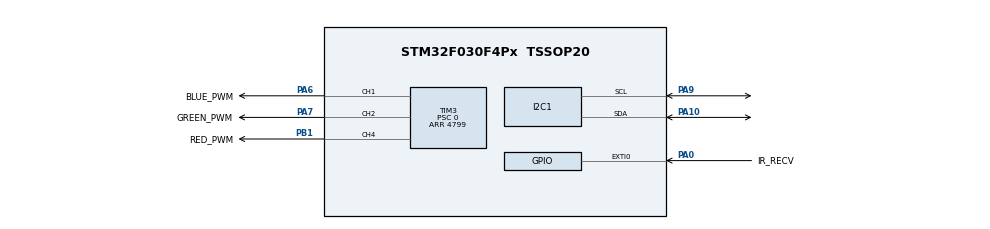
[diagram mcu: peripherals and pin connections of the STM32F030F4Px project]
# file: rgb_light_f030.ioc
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Mcu.Family=STM32F0
Mcu.Name=STM32F030F4Px
Mcu.Package=TSSOP20
NVIC.EXTI0_1_IRQn=true\:0\:0\:false\:false\:true\:true\:true\:true
NVIC.TIM16_IRQn=true\:0\:0\:false\:false\:true\:true\:true\:true
NVIC.TIM17_IRQn=true\:0\:0\:false\:false\:true\:true\:true\:true
PA0.GPIO_Label=IR_RECV
PA0.GPIO_ModeDefaultEXTI=GPIO_MODE_IT_RISING_FALLING
PA0.Signal=GPXTI0
PA10.Mode=I2C
PA10.Signal=I2C1_SDA
PA13.Mode=Serial_Wire
PA13.Signal=SYS_SWDIO
PA14.Mode=Serial_Wire
PA14.Signal=SYS_SWCLK
PA6.GPIO_Label=BLUE_PWM
PA6.Signal=S_TIM3_CH1
PA7.GPIO_Label=GREEN_PWM
PA7.Signal=S_TIM3_CH2
PA9.Mode=I2C
PA9.Signal=I2C1_SCL
PB1.GPIO_Label=RED_PWM
PB1.Signal=S_TIM3_CH4
PF0-OSC_IN.Mode=HSE-External-Oscillator
PF0-OSC_IN.Signal=RCC_OSC_IN
PF1-OSC_OUT.Mode=HSE-External-Oscillator
PF1-OSC_OUT.Signal=RCC_OSC_OUT
ProjectManager.HeapSize=0x200
ProjectManager.StackSize=0x400
ProjectManager.TargetToolchain=STM32CubeIDE
RCC.AHBFreq_Value=48000000
RCC.APB1Freq_Value=48000000
RCC.APB1TimFreq_Value=48000000
RCC.HCLKFreq_Value=48000000
RCC.PLLMUL=RCC_PLL_MUL6
RCC.PLLSourceVirtual=RCC_PLLSOURCE_HSE
RCC.SYSCLKFreq_VALUE=48000000
RCC.SYSCLKSource=RCC_SYSCLKSOURCE_PLLCLK
SH.S_TIM3_CH1.0=TIM3_CH1,PWM Generation1 CH1
SH.S_TIM3_CH2.0=TIM3_CH2,PWM Generation2 CH2
SH.S_TIM3_CH4.0=TIM3_CH4,PWM Generation4 CH4
TIM14.Period=1549
TIM14.Prescaler=3095
TIM16.Period=47999
TIM16.Prescaler=9
TIM17.Period=499
TIM17.Prescaler=47999
TIM3.AutoReloadPreload=TIM_AUTORELOAD_PRELOAD_DISABLE
TIM3.Channel-PWM\ Generation1\ CH1=TIM_CHANNEL_1
TIM3.Channel-PWM\ Generation2\ CH2=TIM_CHANNEL_2
TIM3.Channel-PWM\ Generation4\ CH4=TIM_CHANNEL_4
TIM3.Period=4799
TIM3.Prescaler=0
VP_TIM14_VS_ClockSourceINT.Mode=Enable_Timer
VP_TIM16_VS_ClockSourceINT.Mode=Enable_Timer
VP_TIM17_VS_ClockSourceINT.Mode=Enable_Timer
board=custom

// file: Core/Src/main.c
/* USER CODE BEGIN Header */
/**
  ******************************************************************************
  * @file           : main.c
  * @brief          : Main program body
  ******************************************************************************
  * @attention
  *
  * Copyright (c) 2022 STMicroelectronics.
  * All rights reserved.
  *
  * This software is licensed under terms that can be found in the LICENSE file
  * in the root directory of this software component.
  * If no LICENSE file comes with this software, it is provided AS-IS.
  *
  ******************************************************************************
  */
/* USER CODE END Header */
#include "main.h"

void SystemClock_Config(void);
static void MX_GPIO_Init(void);
static void MX_TIM14_Init(void);
static void MX_TIM3_Init(void);
static void MX_TIM16_Init(void);
static void MX_I2C1_Init(void);
static void MX_TIM17_Init(void);

/* USER CODE BEGIN 0 */

#ifdef DBG_ENABLED
void dbg_print(const char* data)
{
	while (*data)
	{
		LL_USART_TransmitData8(DBG_USART, *data++);
		while (!LL_USART_IsActiveFlag_TXE(DBG_USART)) ;
	}
}
#endif

unsigned int save_cfg_flag = 0;

/* USER CODE END 0 */

int main(void)
{

  /* MCU Configuration--------------------------------------------------------*/

  /* Reset of all peripherals, Initializes the Flash interface and the Systick. */
  LL_APB1_GRP2_EnableClock(LL_APB1_GRP2_PERIPH_SYSCFG);
  LL_APB1_GRP1_EnableClock(LL_APB1_GRP1_PERIPH_PWR);

  /* SysTick_IRQn interrupt configuration */
  NVIC_SetPriority(SysTick_IRQn, 3);

  /* Configure the system clock */
  SystemClock_Config();

  /* Initialize all configured peripherals */
  MX_GPIO_Init();
  MX_TIM14_Init();
  MX_TIM3_Init();
  MX_TIM16_Init();
  MX_I2C1_Init();
  MX_TIM17_Init();
  /* USER CODE BEGIN 2 */

  	LL_I2C_Enable(I2C1);

  	//generic timekeeping 500ms IT
	LL_TIM_EnableCounter(GENERIC_TIMER);
	LL_TIM_EnableIT_UPDATE(GENERIC_TIMER);

	remote_init();
	rgb_ctl_init();

	delay_ms(50);

	eeprom_load();
	if (eeprom.cfg.version != EEPROM_VERSION) {
		eeprom_set_defaults();
		eeprom_save();
	}

  /* USER CODE END 2 */

  /* Infinite loop */
  while (1)
  {

    /* USER CODE BEGIN 3 */

	  if (remote.on_key_press_flag)
	  {
		  remote_on_key_press();
		  remote.on_key_press_flag = 0;
	  }

	  if (remote.on_long_press_flag)
	  {
		  remote.on_long_press_flag = 0;
		  remote_on_long_press(remote.ir_raw_data);
	  }

	  if (save_cfg_flag)
	  {
		  save_cfg_flag = 0;
		  eeprom_save();
	  }
  }
  /* USER CODE END 3 */
}

void SystemClock_Config(void)
{
  LL_FLASH_SetLatency(LL_FLASH_LATENCY_1);
  while(LL_FLASH_GetLatency() != LL_FLASH_LATENCY_1)
  {
  }
  LL_RCC_HSE_Enable();

   /* Wait till HSE is ready */
  while(LL_RCC_HSE_IsReady() != 1)
  {

  }
  LL_RCC_HSI_Enable();

   /* Wait till HSI is ready */
  while(LL_RCC_HSI_IsReady() != 1)
  {

  }
  LL_RCC_HSI_SetCalibTrimming(16);
  LL_RCC_PLL_ConfigDomain_SYS(LL_RCC_PLLSOURCE_HSE_DIV_1, LL_RCC_PLL_MUL_6);
  LL_RCC_PLL_Enable();

   /* Wait till PLL is ready */
  while(LL_RCC_PLL_IsReady() != 1)
  {

  }
  LL_RCC_SetAHBPrescaler(LL_RCC_SYSCLK_DIV_1);
  LL_RCC_SetAPB1Prescaler(LL_RCC_APB1_DIV_1);
  LL_RCC_SetSysClkSource(LL_RCC_SYS_CLKSOURCE_PLL);

   /* Wait till System clock is ready */
  while(LL_RCC_GetSysClkSource() != LL_RCC_SYS_CLKSOURCE_STATUS_PLL)
  {

  }
  LL_Init1msTick(48000000);
  LL_SetSystemCoreClock(48000000);
  LL_RCC_SetI2CClockSource(LL_RCC_I2C1_CLKSOURCE_HSI);
}

static void MX_I2C1_Init(void)
{

  LL_I2C_InitTypeDef I2C_InitStruct = {0};

  LL_GPIO_InitTypeDef GPIO_InitStruct = {0};

  LL_AHB1_GRP1_EnableClock(LL_AHB1_GRP1_PERIPH_GPIOA);
  /**I2C1 GPIO Configuration
  PA9   ------> I2C1_SCL
  PA10   ------> I2C1_SDA
  */
  GPIO_InitStruct.Pin = LL_GPIO_PIN_9;
  GPIO_InitStruct.Mode = LL_GPIO_MODE_ALTERNATE;
  GPIO_InitStruct.Speed = LL_GPIO_SPEED_FREQ_HIGH;
  GPIO_InitStruct.OutputType = LL_GPIO_OUTPUT_OPENDRAIN;
  GPIO_InitStruct.Pull = LL_GPIO_PULL_NO;
  GPIO_InitStruct.Alternate = LL_GPIO_AF_4;
  LL_GPIO_Init(GPIOA, &GPIO_InitStruct);

  GPIO_InitStruct.Pin = LL_GPIO_PIN_10;
  GPIO_InitStruct.Mode = LL_GPIO_MODE_ALTERNATE;
  GPIO_InitStruct.Speed = LL_GPIO_SPEED_FREQ_HIGH;
  GPIO_InitStruct.OutputType = LL_GPIO_OUTPUT_OPENDRAIN;
  GPIO_InitStruct.Pull = LL_GPIO_PULL_NO;
  GPIO_InitStruct.Alternate = LL_GPIO_AF_4;
  LL_GPIO_Init(GPIOA, &GPIO_InitStruct);

  /* Peripheral clock enable */
  LL_APB1_GRP1_EnableClock(LL_APB1_GRP1_PERIPH_I2C1);

  /** I2C Initialization
  */
  LL_I2C_DisableOwnAddress2(I2C1);
  LL_I2C_DisableGeneralCall(I2C1);
  LL_I2C_EnableClockStretching(I2C1);
  I2C_InitStruct.PeripheralMode = LL_I2C_MODE_I2C;
  I2C_InitStruct.Timing = 0x2000090E;
  I2C_InitStruct.AnalogFilter = LL_I2C_ANALOGFILTER_ENABLE;
  I2C_InitStruct.DigitalFilter = 0;
  I2C_InitStruct.OwnAddress1 = 0;
  I2C_InitStruct.TypeAcknowledge = LL_I2C_ACK;
  I2C_InitStruct.OwnAddrSize = LL_I2C_OWNADDRESS1_7BIT;
  LL_I2C_Init(I2C1, &I2C_InitStruct);
  LL_I2C_EnableAutoEndMode(I2C1);
  LL_I2C_SetOwnAddress2(I2C1, 0, LL_I2C_OWNADDRESS2_NOMASK);

}

static void MX_TIM3_Init(void)
{

  LL_TIM_InitTypeDef TIM_InitStruct = {0};
  LL_TIM_OC_InitTypeDef TIM_OC_InitStruct = {0};

  LL_GPIO_InitTypeDef GPIO_InitStruct = {0};

  /* Peripheral clock enable */
  LL_APB1_GRP1_EnableClock(LL_APB1_GRP1_PERIPH_TIM3);

  TIM_InitStruct.Prescaler = 0;
  TIM_InitStruct.CounterMode = LL_TIM_COUNTERMODE_UP;
  TIM_InitStruct.Autoreload = 4799;
  TIM_InitStruct.ClockDivision = LL_TIM_CLOCKDIVISION_DIV1;
  LL_TIM_Init(TIM3, &TIM_InitStruct);
  LL_TIM_DisableARRPreload(TIM3);
  LL_TIM_OC_EnablePreload(TIM3, LL_TIM_CHANNEL_CH1);
  TIM_OC_InitStruct.OCMode = LL_TIM_OCMODE_PWM1;
  TIM_OC_InitStruct.OCState = LL_TIM_OCSTATE_DISABLE;
  TIM_OC_InitStruct.OCNState = LL_TIM_OCSTATE_DISABLE;
  TIM_OC_InitStruct.CompareValue = 0;
  TIM_OC_InitStruct.OCPolarity = LL_TIM_OCPOLARITY_HIGH;
  LL_TIM_OC_Init(TIM3, LL_TIM_CHANNEL_CH1, &TIM_OC_InitStruct);
  LL_TIM_OC_DisableFast(TIM3, LL_TIM_CHANNEL_CH1);
  LL_TIM_OC_EnablePreload(TIM3, LL_TIM_CHANNEL_CH2);
  LL_TIM_OC_Init(TIM3, LL_TIM_CHANNEL_CH2, &TIM_OC_InitStruct);
  LL_TIM_OC_DisableFast(TIM3, LL_TIM_CHANNEL_CH2);
  LL_TIM_OC_EnablePreload(TIM3, LL_TIM_CHANNEL_CH4);
  LL_TIM_OC_Init(TIM3, LL_TIM_CHANNEL_CH4, &TIM_OC_InitStruct);
  LL_TIM_OC_DisableFast(TIM3, LL_TIM_CHANNEL_CH4);
  LL_TIM_SetTriggerOutput(TIM3, LL_TIM_TRGO_RESET);
  LL_TIM_DisableMasterSlaveMode(TIM3);
  LL_AHB1_GRP1_EnableClock(LL_AHB1_GRP1_PERIPH_GPIOA);
  LL_AHB1_GRP1_EnableClock(LL_AHB1_GRP1_PERIPH_GPIOB);
  /**TIM3 GPIO Configuration
  PA6   ------> TIM3_CH1
  PA7   ------> TIM3_CH2
  PB1   ------> TIM3_CH4
  */
  GPIO_InitStruct.Pin = BLUE_PWM_Pin;
  GPIO_InitStruct.Mode = LL_GPIO_MODE_ALTERNATE;
  GPIO_InitStruct.Speed = LL_GPIO_SPEED_FREQ_LOW;
  GPIO_InitStruct.OutputType = LL_GPIO_OUTPUT_PUSHPULL;
  GPIO_InitStruct.Pull = LL_GPIO_PULL_NO;
  GPIO_InitStruct.Alternate = LL_GPIO_AF_1;
  LL_GPIO_Init(BLUE_PWM_GPIO_Port, &GPIO_InitStruct);

  GPIO_InitStruct.Pin = GREEN_PWM_Pin;
  GPIO_InitStruct.Mode = LL_GPIO_MODE_ALTERNATE;
  GPIO_InitStruct.Speed = LL_GPIO_SPEED_FREQ_LOW;
  GPIO_InitStruct.OutputType = LL_GPIO_OUTPUT_PUSHPULL;
  GPIO_InitStruct.Pull = LL_GPIO_PULL_NO;
  GPIO_InitStruct.Alternate = LL_GPIO_AF_1;
  LL_GPIO_Init(GREEN_PWM_GPIO_Port, &GPIO_InitStruct);

  GPIO_InitStruct.Pin = RED_PWM_Pin;
  GPIO_InitStruct.Mode = LL_GPIO_MODE_ALTERNATE;
  GPIO_InitStruct.Speed = LL_GPIO_SPEED_FREQ_LOW;
  GPIO_InitStruct.OutputType = LL_GPIO_OUTPUT_PUSHPULL;
  GPIO_InitStruct.Pull = LL_GPIO_PULL_NO;
  GPIO_InitStruct.Alternate = LL_GPIO_AF_1;
  LL_GPIO_Init(RED_PWM_GPIO_Port, &GPIO_InitStruct);

}

static void MX_TIM14_Init(void)
{

  LL_TIM_InitTypeDef TIM_InitStruct = {0};

  /* Peripheral clock enable */
  LL_APB1_GRP1_EnableClock(LL_APB1_GRP1_PERIPH_TIM14);

  TIM_InitStruct.Prescaler = 3095;
  TIM_InitStruct.CounterMode = LL_TIM_COUNTERMODE_UP;
  TIM_InitStruct.Autoreload = 1549;
  TIM_InitStruct.ClockDivision = LL_TIM_CLOCKDIVISION_DIV1;
  LL_TIM_Init(TIM14, &TIM_InitStruct);
  LL_TIM_DisableARRPreload(TIM14);

}

static void MX_TIM16_Init(void)
{

  LL_TIM_InitTypeDef TIM_InitStruct = {0};

  /* Peripheral clock enable */
  LL_APB1_GRP2_EnableClock(LL_APB1_GRP2_PERIPH_TIM16);

  /* TIM16 interrupt Init */
  NVIC_SetPriority(TIM16_IRQn, 0);
  NVIC_EnableIRQ(TIM16_IRQn);

  TIM_InitStruct.Prescaler = 9;
  TIM_InitStruct.CounterMode = LL_TIM_COUNTERMODE_UP;
  TIM_InitStruct.Autoreload = 47999;
  TIM_InitStruct.ClockDivision = LL_TIM_CLOCKDIVISION_DIV1;
  TIM_InitStruct.RepetitionCounter = 0;
  LL_TIM_Init(TIM16, &TIM_InitStruct);
  LL_TIM_DisableARRPreload(TIM16);

}

static void MX_TIM17_Init(void)
{

  LL_TIM_InitTypeDef TIM_InitStruct = {0};

  /* Peripheral clock enable */
  LL_APB1_GRP2_EnableClock(LL_APB1_GRP2_PERIPH_TIM17);

  /* TIM17 interrupt Init */
  NVIC_SetPriority(TIM17_IRQn, 0);
  NVIC_EnableIRQ(TIM17_IRQn);

  TIM_InitStruct.Prescaler = 47999;
  TIM_InitStruct.CounterMode = LL_TIM_COUNTERMODE_UP;
  TIM_InitStruct.Autoreload = 499;
  TIM_InitStruct.ClockDivision = LL_TIM_CLOCKDIVISION_DIV1;
  TIM_InitStruct.RepetitionCounter = 0;
  LL_TIM_Init(TIM17, &TIM_InitStruct);
  LL_TIM_DisableARRPreload(TIM17);

}

static void MX_GPIO_Init(void)
{
  LL_EXTI_InitTypeDef EXTI_InitStruct = {0};

  /* GPIO Ports Clock Enable */
  LL_AHB1_GRP1_EnableClock(LL_AHB1_GRP1_PERIPH_GPIOF);
  LL_AHB1_GRP1_EnableClock(LL_AHB1_GRP1_PERIPH_GPIOA);
  LL_AHB1_GRP1_EnableClock(LL_AHB1_GRP1_PERIPH_GPIOB);

  /**/
  LL_SYSCFG_SetEXTISource(LL_SYSCFG_EXTI_PORTA, LL_SYSCFG_EXTI_LINE0);

  /**/
  LL_GPIO_SetPinPull(IR_RECV_GPIO_Port, IR_RECV_Pin, LL_GPIO_PULL_NO);

  /**/
  LL_GPIO_SetPinMode(IR_RECV_GPIO_Port, IR_RECV_Pin, LL_GPIO_MODE_INPUT);

  /**/
  EXTI_InitStruct.Line_0_31 = LL_EXTI_LINE_0;
  EXTI_InitStruct.LineCommand = ENABLE;
  EXTI_InitStruct.Mode = LL_EXTI_MODE_IT;
  EXTI_InitStruct.Trigger = LL_EXTI_TRIGGER_RISING_FALLING;
  LL_EXTI_Init(&EXTI_InitStruct);

  /* EXTI interrupt init*/
  NVIC_SetPriority(EXTI0_1_IRQn, 0);
  NVIC_EnableIRQ(EXTI0_1_IRQn);

}

void Error_Handler(void)
{
  __disable_irq();
  while (1)
  {
  }
}
